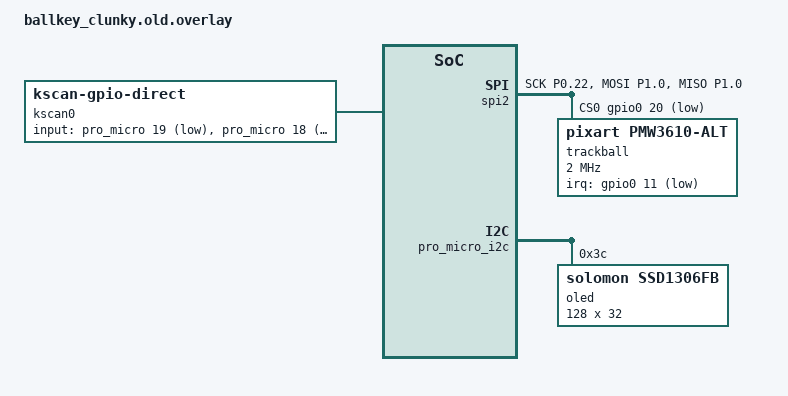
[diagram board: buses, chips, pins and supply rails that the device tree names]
/* 第三个文件：定义键盘的扫描方式和键位映射 */ 
/* 语法参考： https://docs.zephyrproject.org/latest/build/dts/intro-syntax-structure.html */

#include "ballkey_clunky_layouts.dtsi"

/ {

    chosen {
        zmk,kscan = &kscan0;
        zmk,physical-layout = &ballkey_clunky_physical_layout;
        zephyr,display = &oled;
    };

    kscan0: kscan_0 { /* node-label: node-name@node-addr  其中 node-label 可以定义多个，后面可以用 <&kscan0> 来引用这个 node */
        compatible = "zmk,kscan-gpio-direct";  /* property = value; 其中 value 可以是字符 "string" 字节数据 [0x01 0x02] 等，注意要用;号结尾 */
        wakeup-source; /* 标记为唤醒源？ */
        input-gpios = 
          <&pro_micro 19 (GPIO_ACTIVE_LOW | GPIO_PULL_UP)>, /* <&phandles> 指向 node 的指针。具体 pro_micro 应该是 zmk 内置的 node-label */
          <&pro_micro 18 (GPIO_ACTIVE_LOW | GPIO_PULL_UP)>, /* 第二个元素是数字说明 pro_micro 是一个数组, 而数字是下标。 */
          <&pro_micro 15 (GPIO_ACTIVE_LOW | GPIO_PULL_UP)>, /* 括号是设定 node 的 properties, 其中 GPIO_ACTIVE_LOW 意为低电平触发，GPIO_PULL_UP 为默认上拉 */
          <&pro_micro 14 (GPIO_ACTIVE_LOW | GPIO_PULL_UP)>; /* 数组用,号隔开;号结尾  */
    };

};


&pinctrl {
    spi2_default: spi2_default {
        group1 {
            psels = <NRF_PSEL(SPIM_SCK, 0, 22)>,
                <NRF_PSEL(SPIM_MOSI, 1, 0)>,
                <NRF_PSEL(SPIM_MISO, 1, 0)>;
        };
    };

    spi2_sleep: spi2_sleep {
        group1 {
            psels = <NRF_PSEL(SPIM_SCK, 0, 22)>,
                <NRF_PSEL(SPIM_MOSI, 1, 0)>,
                <NRF_PSEL(SPIM_MISO, 1, 0)>;
            low-power-enable;
        };
    };

    i2c0_default: i2c0_default {
        group1 {
            psels = <NRF_PSEL(TWIM_SDA, 0, 8)>,
                <NRF_PSEL(TWIM_SCL, 0, 6)>;
        };
    };

    i2c0_sleep: i2c0_sleep {
        group1 {
            psels = <NRF_PSEL(TWIM_SDA, 0, 8)>,
                <NRF_PSEL(TWIM_SCL, 0, 6)>;
            low-power-enable;
        };
    };
};

#include <zephyr/dt-bindings/input/input-event-codes.h>

&spi2 {
    status = "okay";
    compatible = "nordic,nrf-spim";
    pinctrl-0 = <&spi2_default>;
    pinctrl-1 = <&spi2_sleep>;
    pinctrl-names = "default", "sleep";
    cs-gpios = <&gpio0 20 GPIO_ACTIVE_LOW>;

    trackball: trackball@0 {
        status = "okay";
        compatible = "pixart,pmw3610-alt";
        reg = <0>;
        spi-max-frequency = <2000000>;
        irq-gpios = <&gpio0 11 (GPIO_ACTIVE_LOW | GPIO_PULL_UP)>;
        cpi = <600>;
        evt-type = <INPUT_EV_REL>;
        x-input-code = <INPUT_REL_X>;
        y-input-code = <INPUT_REL_Y>;
    };
};

&pro_micro_i2c {
    status = "okay";

    oled: ssd1306@3c {
        compatible = "solomon,ssd1306fb";
        reg = <0x3c>;
        width = <128>;
        height = <32>;
        segment-offset = <0>;
        page-offset = <0>;
        display-offset = <0>;
        multiplex-ratio = <31>;
        segment-remap;
        com-invdir;
        com-sequential;
        inversion-on;
        prechargep = <0x22>;
    };
};

#include <input/processors.dtsi>
#include <dt-bindings/zmk/input_transform.h>

/ {
    trackball_listener {
        compatible = "zmk,input-listener";
        device = <&trackball>;
        scroller {
            layers = <1>;
            input-processors = <&zip_xy_transform INPUT_TRANSFORM_Y_INVERT>, <&zip_xy_thresholder 12>, <&zip_xy_scaler 1 12>, <&zip_xy_to_scroll_mapper>;
        };
    };
};
